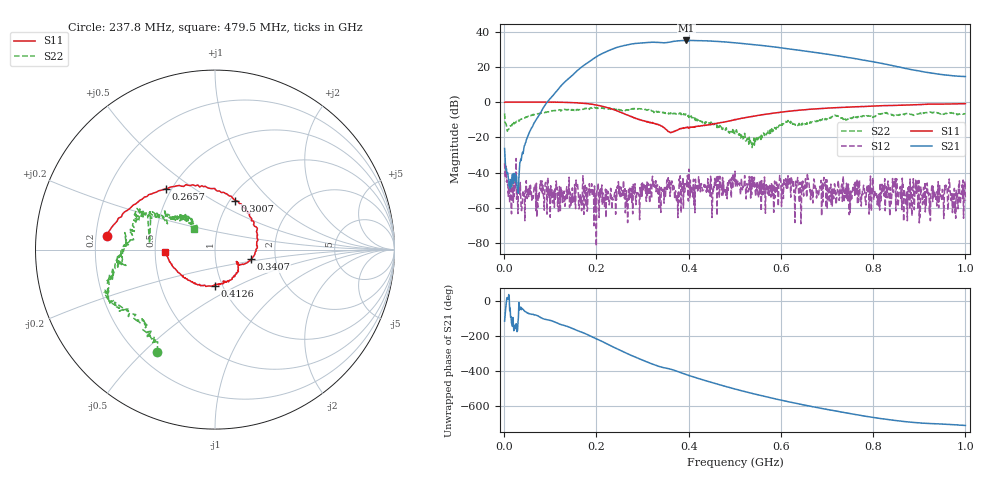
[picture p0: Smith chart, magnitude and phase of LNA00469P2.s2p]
! Created with skrf 1.9.0 (http://scikit-rf.org).
# Hz S RI R 50.0
!freq ReS11 ImS11 ReS21 ImS21 ReS12 ImS12 ReS22 ImS22
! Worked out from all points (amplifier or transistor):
!   1001 points, 1 MHz to 1 GHz, reference 50 ohm
!   highest |S21| = 35.0 dB at 394.6 MHz (marker M1)
!   |S21| within 3 dB of that: 258 MHz to 563.3 MHz (305.3 MHz wide, 74.3 % of centre)
!   unconditionally stable (mu >= 1): 34.66 MHz to 69.63 MHz; 212 MHz to 381.6 MHz; 381.7 MHz to end of sweep (the widest 3 of 35)
!   at 166.8 MHz: K = 2.21, MAG = 30.6 dB, |S12| = -54.0 dB
!   at 500.5 MHz: K = 1.06, MAG = 35.0 dB, |S12| = -39.2 dB
!   at 1 GHz: K = 8.90, MAG = 22.7 dB, |S12| = -55.9 dB
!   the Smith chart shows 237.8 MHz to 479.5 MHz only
!   S11 on the Smith chart (normalised r, x): 237.8 MHz: 0.25, +0.06; 265.7 MHz: 0.46, +0.39; 300.7 MHz: 1.06, +0.63; 340.7 MHz: 1.49, -0.17; 412.6 MHz: 0.93, -0.39; 479.5 MHz: 0.57, -0.02
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1000000  0.9861 0.00791  -0.0196 -0.0443  -0.0144 0.0118  0.3548 0.3221
1.08892e8  0.5287 -0.8433  -0.8154 -1.515  -0.000195 0.00102  0.4134 -0.3901
1.67833e8  -0.2256 -0.904  -9.846 -0.4606  0.000462 -0.000695  0.0241 -0.6328
2.07793e8  -0.6651 -0.4243  -15.65 15.5  0.00152 0.00314  -0.227 -0.6474
2.37763e8  -0.6025 0.0767  -3.591 32.98  -0.000596 -0.00178  -0.3218 -0.5687
2.65735e8  -0.2749 0.3399  19.81 36.38  0.000485 -0.00117  -0.482 -0.373
3.007e8  0.1131 0.2726  44.59 17.87  -0.00249 -0.00198  -0.5893 -0.2014
3.18682e8  0.2143 0.1392  49.62 2.942  -0.0023 -0.00101  -0.5725 -0.124
3.34666e8  0.2291 -0.0088  48.1 -10.32  0.000877 0.00279  -0.5212 -0.0388
3.4066e8  0.2019 -0.0537  46.58 -13.99  0.00358 0.00122  -0.5244 -0.0267
3.7063e8  0.1285 -0.0787  42.85 -32.36  0.000787 0.00223  -0.4498 0.1728
3.94606e8  0.0849 -0.1709  28.33 -48.25  0.00281 0.004  -0.3767 0.204
4.12588e8  0.0017 -0.2015  14.49 -53.72  0.00122 0.00389  -0.2834 0.1809
4.43557e8  -0.1546 -0.164  -9.398 -53.1  0.00294 0.00215  -0.1788 0.1867
4.79521e8  -0.2759 -0.0126  -30.83 -40.46  0.00291 0.00154  -0.1143 0.1134
5.005e8  -0.3064 0.1049  -38.49 -29.38  0.00528 0.0096  -0.0809 0.098
5.4046e8  -0.2379 0.317  -41.99 -7.78  0.00155 -0.00555  -0.0682 -0.0102
5.88412e8  -0.0451 0.4919  -34.15 12.01  3.82e-05 -0.00248  -0.1653 -0.0863
6.67333e8  0.3307 0.5361  -11.96 23.24  0.00206 -0.000304  -0.27 -0.0413
7.49251e8  0.6155 0.38  3.788 17.71  0.000544 -0.00268  -0.3407 0.037
8.34166e8  0.7851 0.1474  8.363 7.698  -0.00184 -0.000526  -0.4585 0.1186
1e9  0.8161 -0.3872  5.241 0.8599  -0.000153 -0.0016  -0.1907 0.4176
